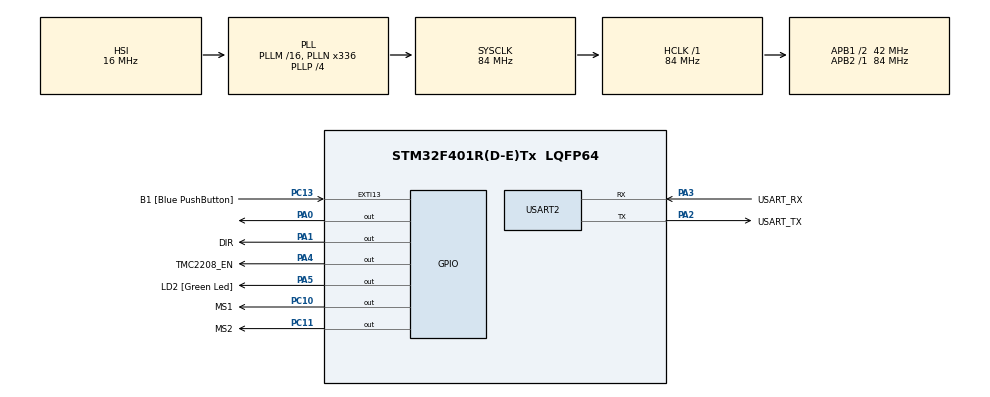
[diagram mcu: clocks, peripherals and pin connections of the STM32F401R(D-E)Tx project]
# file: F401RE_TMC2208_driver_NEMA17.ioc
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Mcu.Family=STM32F4
Mcu.Name=STM32F401R(D-E)Tx
Mcu.Package=LQFP64
NVIC.PriorityGroup=NVIC_PRIORITYGROUP_4
PA0-WKUP.Signal=GPIO_Output
PA1.GPIO_Label=DIR
PA1.Signal=GPIO_Output
PA13.GPIO_Label=TMS
PA13.Mode=Trace_Asynchronous_SW
PA13.Signal=SYS_JTMS-SWDIO
PA14.GPIO_Label=TCK
PA14.Mode=Trace_Asynchronous_SW
PA14.Signal=SYS_JTCK-SWCLK
PA2.GPIO_Label=USART_TX
PA2.GPIO_Mode=GPIO_MODE_AF_PP
PA2.GPIO_PuPd=GPIO_NOPULL
PA2.GPIO_Speed=GPIO_SPEED_FREQ_LOW
PA2.Mode=Asynchronous
PA2.Signal=USART2_TX
PA3.GPIO_Label=USART_RX
PA3.GPIO_Mode=GPIO_MODE_AF_PP
PA3.GPIO_PuPd=GPIO_NOPULL
PA3.GPIO_Speed=GPIO_SPEED_FREQ_LOW
PA3.Mode=Asynchronous
PA3.Signal=USART2_RX
PA4.GPIO_Label=TMC2208_EN
PA4.Signal=GPIO_Output
PA5.GPIO_Label=LD2 [Green Led]
PA5.GPIO_Mode=GPIO_MODE_OUTPUT_PP
PA5.GPIO_PuPd=GPIO_NOPULL
PA5.GPIO_Speed=GPIO_SPEED_FREQ_LOW
PA5.Signal=GPIO_Output
PB3.GPIO_Label=SWO
PB3.Mode=Trace_Asynchronous_SW
PB3.Signal=SYS_JTDO-SWO
PC10.GPIO_Label=MS1
PC10.Signal=GPIO_Output
PC11.GPIO_Label=MS2
PC11.Signal=GPIO_Output
PC13-ANTI_TAMP.GPIO_Label=B1 [Blue PushButton]
PC13-ANTI_TAMP.GPIO_ModeDefaultEXTI=GPIO_MODE_IT_FALLING
PC13-ANTI_TAMP.GPIO_PuPd=GPIO_NOPULL
PC13-ANTI_TAMP.Signal=GPXTI13
PC14-OSC32_IN.Mode=LSE-External-Oscillator
PC14-OSC32_IN.Signal=RCC_OSC32_IN
PC15-OSC32_OUT.Mode=LSE-External-Oscillator
PC15-OSC32_OUT.Signal=RCC_OSC32_OUT
PH0\ -\ OSC_IN.Mode=HSE-External-Oscillator
PH0\ -\ OSC_IN.Signal=RCC_OSC_IN
PH1\ -\ OSC_OUT.Mode=HSE-External-Oscillator
PH1\ -\ OSC_OUT.Signal=RCC_OSC_OUT
ProjectManager.HeapSize=0x200
ProjectManager.StackSize=0x400
ProjectManager.TargetToolchain=STM32CubeIDE
RCC.48MHZClocksFreq_Value=48000000
RCC.AHBFreq_Value=84000000
RCC.APB1CLKDivider=RCC_HCLK_DIV2
RCC.APB1Freq_Value=42000000
RCC.APB1TimFreq_Value=84000000
RCC.APB2Freq_Value=84000000
RCC.APB2TimFreq_Value=84000000
RCC.CortexFreq_Value=84000000
RCC.HCLKFreq_Value=84000000
RCC.HSE_VALUE=8000000
RCC.HSI_VALUE=16000000
RCC.PLLN=336
RCC.PLLP=RCC_PLLP_DIV4
RCC.PLLQ=7
RCC.SYSCLKFreq_VALUE=84000000
RCC.SYSCLKSource=RCC_SYSCLKSOURCE_PLLCLK
RCC.VCOOutputFreq_Value=336000000
TIM2.Period=4294967295
TIM2.Prescaler=83
USART2.VirtualMode=VM_ASYNC
VP_TIM2_VS_ClockSourceINT.Mode=Internal
board=NUCLEO-F401RE

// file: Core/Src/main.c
/* USER CODE BEGIN Header */
/**
  ******************************************************************************
  * @file           : main.c
  * @brief          : Main program body
  ******************************************************************************
  * @attention
  *
  * Copyright (c) 2025 STMicroelectronics.
  * All rights reserved.
  *
  * This software is licensed under terms that can be found in the LICENSE file
  * in the root directory of this software component.
  * If no LICENSE file comes with this software, it is provided AS-IS.
  *
  ******************************************************************************
  */
/* USER CODE END Header */
#include "main.h"

TIM_HandleTypeDef htim2;

UART_HandleTypeDef huart2;

void SystemClock_Config(void);
static void MX_GPIO_Init(void);
static void MX_USART2_UART_Init(void);
static void MX_TIM2_Init(void);

/* USER CODE BEGIN 0 */
#define DIR_PIN GPIO_PIN_1
#define DIR_PORT GPIOA
#define STEP_PIN GPIO_PIN_0
#define STEP_PORT GPIOA

/* the Microsecond delay using TIM2, which is set to 1MHZ timebase (1 count = 1 µs).
 * or a requested delay (µs), you poll the counter until it reaches that value.
 * This gives stable STEP high/low times independent of HAL_Delay() (which is ms and jittery).
 *
 */
void microDelay( uint32_t delay ){
	__HAL_TIM_SET_COUNTER(&htim2, 0);
	while(__HAL_TIM_GET_COUNTER(&htim2) < delay );
}
/* USER CODE END 0 */

int main(void)
{

  /* MCU Configuration--------------------------------------------------------*/

  /* Reset of all peripherals, Initializes the Flash interface and the Systick. */
  HAL_Init();

  /* Configure the system clock */
  SystemClock_Config();

  /* Initialize all configured peripherals */
  MX_GPIO_Init();
  MX_USART2_UART_Init();
  MX_TIM2_Init();
  /* USER CODE BEGIN 2 */
  HAL_TIM_Base_Start(&htim2);
  HAL_GPIO_WritePin(TMC2208_EN_GPIO_Port, TMC2208_EN_Pin, GPIO_PIN_RESET);  // LOW = ENABLED
  HAL_GPIO_WritePin(GPIOC,GPIO_PIN_10, GPIO_PIN_RESET); // LOW MS1
  HAL_GPIO_WritePin(GPIOC,GPIO_PIN_11, GPIO_PIN_SET); // high MS2

  const float stepsperRev = 200;           // Number of steps to move in each direction, determined by motor
  float desiredRPM = 120;  //2 revoluatons * 60
  //float MaxRPM = 180;
  int microstepSetting = 2; // MS1 low MS2 HIGH
  const uint32_t pulsesPerRev = (uint32_t)(stepsperRev * microstepSetting); // 200*2=400
  float speedStepsPerSec = (microstepSetting * stepsperRev * desiredRPM) / 60.0; //2*200*120 / 60 = 800Hz
  //float maxspeedperSec =  microstepSetting * stepsperRev * MaxRPM / 60; // Specify max speed in steps/sec (converted from RPM)
  uint32_t period_us = 1e6/speedStepsPerSec; // in microsceonds
  //float num = 0;
  uint32_t pulse_high_us = 3; // minimum wait time for nema 17
  /* USER CODE END 2 */

  /* Infinite loop */
  /* USER CODE BEGIN WHILE */
  while (1)
  {

	  HAL_GPIO_WritePin(DIR_PORT, DIR_PIN, GPIO_PIN_SET);  // set directioN
	  for(int i =0; i < pulsesPerRev; i++){
		  HAL_GPIO_WritePin(GPIOA, LD2_Pin, SET);
		  HAL_GPIO_WritePin(GPIOA, GPIO_PIN_0, SET);
		  microDelay(pulse_high_us);
		  HAL_GPIO_WritePin(GPIOA, GPIO_PIN_0, RESET);
		  microDelay(period_us - pulse_high_us);                  // rest of period
	  	  }
	  }

  	  microDelay(5000000);
  	  HAL_GPIO_WritePin(DIR_PORT, DIR_PIN, GPIO_PIN_RESET);  // set directioN
  	  for(int i =0; i < pulsesPerRev; i++)
  	  {
  		  HAL_GPIO_WritePin(GPIOA, LD2_Pin, RESET);
  		  HAL_GPIO_WritePin(GPIOA, GPIO_PIN_0, SET);
  		  microDelay(pulse_high_us);
  		  HAL_GPIO_WritePin(GPIOA, GPIO_PIN_0, RESET);
  		  microDelay(period_us - pulse_high_us);                  // rest of period
  	  }

//	  __HAL_TIM_ENABLE(&htim5);   // Starts counter again
//	  HAL_TIM_PWM_Start(&htim5, TIM_CHANNEL_1);
//	  HAL_GPIO_TogglePin(LD2_GPIO_Port, LD2_Pin);
//	  microDelay(1600000);
//	  HAL_TIM_PWM_Stop(&htim5, TIM_CHANNEL_1);
//	  __HAL_TIM_DISABLE(&htim5);  // Stops the timer counter immediately
//	  HAL_GPIO_WritePin(DIR_PORT, DIR_PIN, GPIO_PIN_RESET); // change direction
//	  HAL_GPIO_TogglePin(LD2_GPIO_Port, LD2_Pin);
//	  microDelay(5000000);
//	  __HAL_TIM_ENABLE(&htim5);   // Starts counter again
//	  HAL_TIM_PWM_Start(&htim5, TIM_CHANNEL_1);
//	  HAL_GPIO_TogglePin(LD2_GPIO_Port, LD2_Pin);
//	  microDelay(1600000);
//	  HAL_TIM_PWM_Stop(&htim5, TIM_CHANNEL_1);
//	  __HAL_TIM_DISABLE(&htim5);  // Stops the timer counter immediately
//	  HAL_GPIO_TogglePin(LD2_GPIO_Port, LD2_Pin);
    /* USER CODE END WHILE */

}

void SystemClock_Config(void)
{
  RCC_OscInitTypeDef RCC_OscInitStruct = {0};
  RCC_ClkInitTypeDef RCC_ClkInitStruct = {0};

  /** Configure the main internal regulator output voltage
  */
  __HAL_RCC_PWR_CLK_ENABLE();
  __HAL_PWR_VOLTAGESCALING_CONFIG(PWR_REGULATOR_VOLTAGE_SCALE2);

  /** Initializes the RCC Oscillators according to the specified parameters
  * in the RCC_OscInitTypeDef structure.
  */
  RCC_OscInitStruct.OscillatorType = RCC_OSCILLATORTYPE_HSI;
  RCC_OscInitStruct.HSIState = RCC_HSI_ON;
  RCC_OscInitStruct.HSICalibrationValue = RCC_HSICALIBRATION_DEFAULT;
  RCC_OscInitStruct.PLL.PLLState = RCC_PLL_ON;
  RCC_OscInitStruct.PLL.PLLSource = RCC_PLLSOURCE_HSI;
  RCC_OscInitStruct.PLL.PLLM = 16;
  RCC_OscInitStruct.PLL.PLLN = 336;
  RCC_OscInitStruct.PLL.PLLP = RCC_PLLP_DIV4;
  RCC_OscInitStruct.PLL.PLLQ = 7;
  if (HAL_RCC_OscConfig(&RCC_OscInitStruct) != HAL_OK)
  {
    Error_Handler();
  }

  /** Initializes the CPU, AHB and APB buses clocks
  */
  RCC_ClkInitStruct.ClockType = RCC_CLOCKTYPE_HCLK|RCC_CLOCKTYPE_SYSCLK
                              |RCC_CLOCKTYPE_PCLK1|RCC_CLOCKTYPE_PCLK2;
  RCC_ClkInitStruct.SYSCLKSource = RCC_SYSCLKSOURCE_PLLCLK;
  RCC_ClkInitStruct.AHBCLKDivider = RCC_SYSCLK_DIV1;
  RCC_ClkInitStruct.APB1CLKDivider = RCC_HCLK_DIV2;
  RCC_ClkInitStruct.APB2CLKDivider = RCC_HCLK_DIV1;

  if (HAL_RCC_ClockConfig(&RCC_ClkInitStruct, FLASH_LATENCY_2) != HAL_OK)
  {
    Error_Handler();
  }
}

static void MX_TIM2_Init(void)
{

  TIM_ClockConfigTypeDef sClockSourceConfig = {0};
  TIM_MasterConfigTypeDef sMasterConfig = {0};

  htim2.Instance = TIM2;
  htim2.Init.Prescaler = 83;
  htim2.Init.CounterMode = TIM_COUNTERMODE_UP;
  htim2.Init.Period = 4294967295;
  htim2.Init.ClockDivision = TIM_CLOCKDIVISION_DIV1;
  htim2.Init.AutoReloadPreload = TIM_AUTORELOAD_PRELOAD_DISABLE;
  if (HAL_TIM_Base_Init(&htim2) != HAL_OK)
  {
    Error_Handler();
  }
  sClockSourceConfig.ClockSource = TIM_CLOCKSOURCE_INTERNAL;
  if (HAL_TIM_ConfigClockSource(&htim2, &sClockSourceConfig) != HAL_OK)
  {
    Error_Handler();
  }
  sMasterConfig.MasterOutputTrigger = TIM_TRGO_RESET;
  sMasterConfig.MasterSlaveMode = TIM_MASTERSLAVEMODE_DISABLE;
  if (HAL_TIMEx_MasterConfigSynchronization(&htim2, &sMasterConfig) != HAL_OK)
  {
    Error_Handler();
  }

}

static void MX_USART2_UART_Init(void)
{

  huart2.Instance = USART2;
  huart2.Init.BaudRate = 115200;
  huart2.Init.WordLength = UART_WORDLENGTH_8B;
  huart2.Init.StopBits = UART_STOPBITS_1;
  huart2.Init.Parity = UART_PARITY_NONE;
  huart2.Init.Mode = UART_MODE_TX_RX;
  huart2.Init.HwFlowCtl = UART_HWCONTROL_NONE;
  huart2.Init.OverSampling = UART_OVERSAMPLING_16;
  if (HAL_UART_Init(&huart2) != HAL_OK)
  {
    Error_Handler();
  }

}

static void MX_GPIO_Init(void)
{
  GPIO_InitTypeDef GPIO_InitStruct = {0};

  /* GPIO Ports Clock Enable */
  __HAL_RCC_GPIOC_CLK_ENABLE();
  __HAL_RCC_GPIOH_CLK_ENABLE();
  __HAL_RCC_GPIOA_CLK_ENABLE();
  __HAL_RCC_GPIOB_CLK_ENABLE();

  /*Configure GPIO pin Output Level */
  HAL_GPIO_WritePin(GPIOA, GPIO_PIN_0|DIR_Pin|TMC2208_EN_Pin|LD2_Pin, GPIO_PIN_RESET);

  /*Configure GPIO pin Output Level */
  HAL_GPIO_WritePin(GPIOC, MS1_Pin|MS2_Pin, GPIO_PIN_RESET);

  /*Configure GPIO pin : B1_Pin */
  GPIO_InitStruct.Pin = B1_Pin;
  GPIO_InitStruct.Mode = GPIO_MODE_IT_FALLING;
  GPIO_InitStruct.Pull = GPIO_NOPULL;
  HAL_GPIO_Init(B1_GPIO_Port, &GPIO_InitStruct);

  /*Configure GPIO pins : PA0 DIR_Pin TMC2208_EN_Pin LD2_Pin */
  GPIO_InitStruct.Pin = GPIO_PIN_0|DIR_Pin|TMC2208_EN_Pin|LD2_Pin;
  GPIO_InitStruct.Mode = GPIO_MODE_OUTPUT_PP;
  GPIO_InitStruct.Pull = GPIO_NOPULL;
  GPIO_InitStruct.Speed = GPIO_SPEED_FREQ_LOW;
  HAL_GPIO_Init(GPIOA, &GPIO_InitStruct);

  /*Configure GPIO pins : MS1_Pin MS2_Pin */
  GPIO_InitStruct.Pin = MS1_Pin|MS2_Pin;
  GPIO_InitStruct.Mode = GPIO_MODE_OUTPUT_PP;
  GPIO_InitStruct.Pull = GPIO_NOPULL;
  GPIO_InitStruct.Speed = GPIO_SPEED_FREQ_LOW;
  HAL_GPIO_Init(GPIOC, &GPIO_InitStruct);

}

void Error_Handler(void)
{
  __disable_irq();
  while (1)
  {
  }
}
